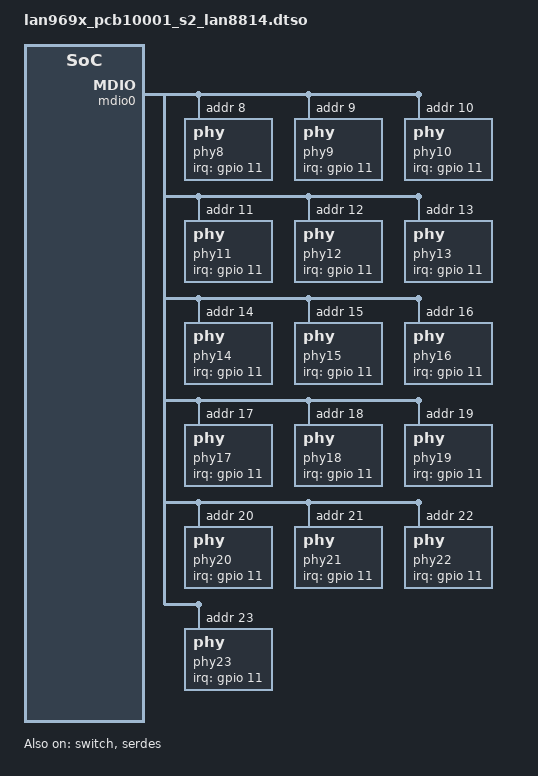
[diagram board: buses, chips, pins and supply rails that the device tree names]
// SPDX-License-Identifier: (GPL-2.0 OR MIT)
/dts-v1/;
/plugin/;

#include "arm-gic.h"
#include "irq.h"

/ {
	fragment@0 {
		target = <&gpio>;
		__overlay__ {

			mdio_pins: mdio-pins {
				pins = "GPIO_9", "GPIO_10";
				function = "miim";
			};

			mdio_irq_pins: mdio-irq-pins {
				pins = "GPIO_11";
				function = "miim_irq";
			};
		};
	};

	fragment@1 {
		target = <&mdio0>;
		__overlay__ {
			status = "okay";

			phy8: phy@8 {
				reg = <8>;
				interrupts = <11 IRQ_TYPE_LEVEL_LOW>;
				interrupt-parent = <&gpio>;
			};

			phy9: phy@9 {
				reg = <9>;
				interrupts = <11 IRQ_TYPE_LEVEL_LOW>;
				interrupt-parent = <&gpio>;
			};

			phy10: phy@10 {
				reg = <10>;
				interrupts = <11 IRQ_TYPE_LEVEL_LOW>;
				interrupt-parent = <&gpio>;
			};

			phy11: phy@11 {
				reg = <11>;
				interrupts = <11 IRQ_TYPE_LEVEL_LOW>;
				interrupt-parent = <&gpio>;
			};

			phy12: phy@12 {
				reg = <12>;
				interrupts = <11 IRQ_TYPE_LEVEL_LOW>;
				interrupt-parent = <&gpio>;
			};

			phy13: phy@13 {
				reg = <13>;
				interrupts = <11 IRQ_TYPE_LEVEL_LOW>;
				interrupt-parent = <&gpio>;
			};

			phy14: phy@14 {
				reg = <14>;
				interrupts = <11 IRQ_TYPE_LEVEL_LOW>;
				interrupt-parent = <&gpio>;
			};

			phy15: phy@15 {
				reg = <15>;
				interrupts = <11 IRQ_TYPE_LEVEL_LOW>;
				interrupt-parent = <&gpio>;
			};

			phy16: phy@16 {
				reg = <16>;
				interrupts = <11 IRQ_TYPE_LEVEL_LOW>;
				interrupt-parent = <&gpio>;
			};

			phy17: phy@17 {
				reg = <17>;
				interrupts = <11 IRQ_TYPE_LEVEL_LOW>;
				interrupt-parent = <&gpio>;
			};

			phy18: phy@18 {
				reg = <18>;
				interrupts = <11 IRQ_TYPE_LEVEL_LOW>;
				interrupt-parent = <&gpio>;
			};

			phy19: phy@19 {
				reg = <19>;
				interrupts = <11 IRQ_TYPE_LEVEL_LOW>;
				interrupt-parent = <&gpio>;
			};

			phy20: phy@20 {
				reg = <20>;
				interrupts = <11 IRQ_TYPE_LEVEL_LOW>;
				interrupt-parent = <&gpio>;
			};

			phy21: phy@21 {
				reg = <21>;
				interrupts = <11 IRQ_TYPE_LEVEL_LOW>;
				interrupt-parent = <&gpio>;
			};

			phy22: phy@22 {
				reg = <22>;
				interrupts = <11 IRQ_TYPE_LEVEL_LOW>;
				interrupt-parent = <&gpio>;
			};

			phy23: phy@23 {
				reg = <23>;
				interrupts = <11 IRQ_TYPE_LEVEL_LOW>;
				interrupt-parent = <&gpio>;
			};
		};
	};

	fragment@2 {
		target = <&ethernet_ports>;
		__overlay__ {

			port4: port@4 {
				reg = <4>;
				microchip,bandwidth = <1000>;
				phy-handle = <&phy8>;
				phy-mode = "qsgmii";
				phys = <&serdes 1>;
			};

			port5: port@5 {
				reg = <5>;
				microchip,bandwidth = <1000>;
				phy-handle = <&phy9>;
				phy-mode = "qsgmii";
				phys = <&serdes 1>;
			};

			port6: port@6 {
				reg = <6>;
				microchip,bandwidth = <1000>;
				phy-handle = <&phy10>;
				phy-mode = "qsgmii";
				phys = <&serdes 1>;
			};

			port7: port@7 {
				reg = <7>;
				microchip,bandwidth = <1000>;
				phy-handle = <&phy11>;
				phy-mode = "qsgmii";
				phys = <&serdes 1>;
			};

			port8: port@8 {
				reg = <8>;
				microchip,bandwidth = <1000>;
				phy-handle = <&phy12>;
				phy-mode = "qsgmii";
				phys = <&serdes 2>;
			};

			port9: port@9 {
				reg = <9>;
				microchip,bandwidth = <1000>;
				phy-handle = <&phy13>;
				phy-mode = "qsgmii";
				phys = <&serdes 2>;
			};

			port10: port@10 {
				reg = <10>;
				microchip,bandwidth = <1000>;
				phy-handle = <&phy14>;
				phy-mode = "qsgmii";
				phys = <&serdes 2>;
			};

			port11: port@11 {
				reg = <11>;
				microchip,bandwidth = <1000>;
				phy-handle = <&phy15>;
				phy-mode = "qsgmii";
				phys = <&serdes 2>;
			};

			port12: port@12 {
				reg = <12>;
				microchip,bandwidth = <1000>;
				phy-handle = <&phy16>;
				phy-mode = "qsgmii";
				phys = <&serdes 3>;
			};

			port13: port@13 {
				reg = <13>;
				microchip,bandwidth = <1000>;
				phy-handle = <&phy17>;
				phy-mode = "qsgmii";
				phys = <&serdes 3>;
			};

			port14: port@14 {
				reg = <14>;
				microchip,bandwidth = <1000>;
				phy-handle = <&phy18>;
				phy-mode = "qsgmii";
				phys = <&serdes 3>;
			};

			port15: port@15 {
				reg = <15>;
				microchip,bandwidth = <1000>;
				phy-handle = <&phy19>;
				phy-mode = "qsgmii";
				phys = <&serdes 3>;
			};

			port16: port@16 {
				reg = <16>;
				microchip,bandwidth = <1000>;
				phy-handle = <&phy20>;
				phy-mode = "qsgmii";
				phys = <&serdes 4>;
			};

			port17: port@17 {
				reg = <17>;
				microchip,bandwidth = <1000>;
				phy-handle = <&phy21>;
				phy-mode = "qsgmii";
				phys = <&serdes 4>;
			};

			port18: port@18 {
				reg = <18>;
				microchip,bandwidth = <1000>;
				phy-handle = <&phy22>;
				phy-mode = "qsgmii";
				phys = <&serdes 4>;
			};

			port19: port@19 {
				reg = <19>;
				microchip,bandwidth = <1000>;
				phy-handle = <&phy23>;
				phy-mode = "qsgmii";
				phys = <&serdes 4>;
			};
		};
	};

	fragment@3 {
		target = <&switch>;
		__overlay__ {
			status = "okay";
		};
	};

	fragment@4 {
		target = <&serdes>;
		__overlay__ {
			status = "okay";
		};
	};
};
